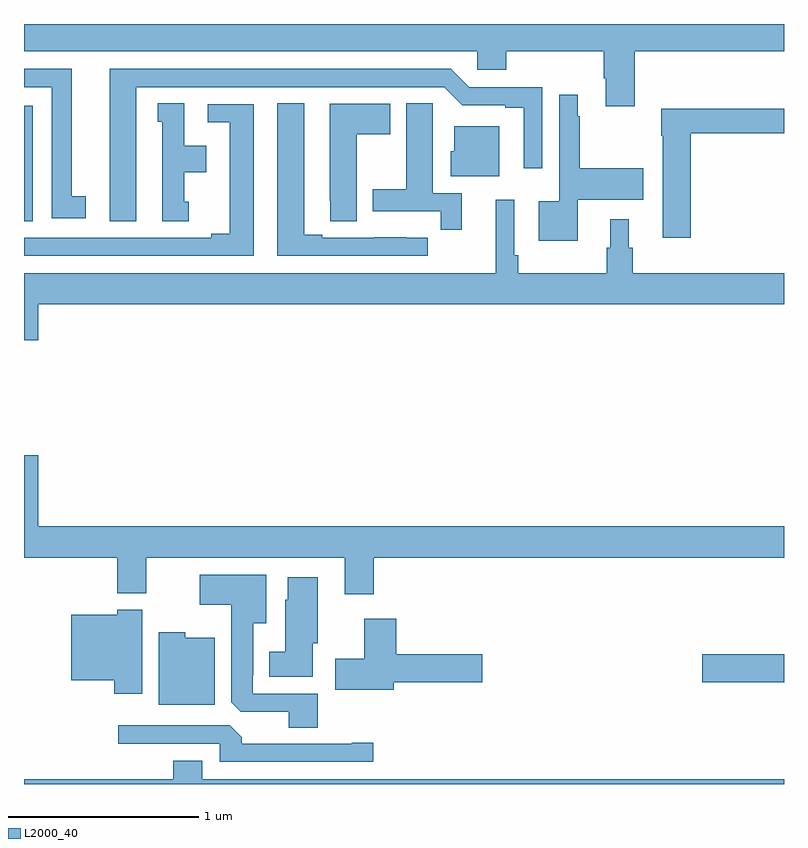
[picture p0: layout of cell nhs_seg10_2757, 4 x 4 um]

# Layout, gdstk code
import gdstk
lib = gdstk.Library(unit=1e-6, precision=1e-09)
def R(c, l, rs):  # rectangles x0, y0, x1, y1
    for r in rs: c.add(gdstk.rectangle(r[:2], r[2:], *l))
def P(c, l, *ps):  # polygons
    for p in ps: c.add(gdstk.Polygon(p, *l))
L2000_40 = (2000, 40)

nhs_seg10_2757 = lib.new_cell('nhs_seg10_2757')
R(nhs_seg10_2757, L2000_40, [(264.57,1257.035,265,1257.182), (261,1259.461,261.046,1260.069)])
P(nhs_seg10_2757, L2000_40, [(264.215,1260.356),(265,1260.356),(265,1260.5),(261,1260.5),(261,1260.356),(263.385,1260.356),(263.385,1260.258),(263.537,1260.258),(263.537,1260.356),(264.05,1260.356),(264.05,1260.214),(264.062,1260.214),(264.062,1260.066),(264.215,1260.066)],
  [(261.592,1260.168),(263.211,1260.168),(263.307,1260.072),(263.534,1260.072),(263.534,1260.06),(263.63,1260.06),(263.63,1259.742),(263.727,1259.742),(263.727,1260.168),(263.343,1260.168),(263.247,1260.264),(261.452,1260.264),(261.452,1259.463),(261.592,1259.463)],
  [(261.325,1259.594),(261.25,1259.594),(261.25,1260.264),(261,1260.264),(261,1260.168),(261.146,1260.168),(261.146,1259.478),(261.325,1259.478)],
  [(263.914,1259.576),(264.259,1259.576),(264.259,1259.742),(263.926,1259.742),(263.926,1260.014),(263.914,1260.014),(263.914,1260.127),(263.817,1260.127),(263.817,1259.566),(263.708,1259.566),(263.708,1259.36),(263.914,1259.36)],
  [(261.868,1259.565),(261.844,1259.565),(261.844,1259.72),(261.958,1259.72),(261.958,1259.86),(261.844,1259.86),(261.844,1260.083),(261.704,1260.083),(261.704,1259.985),(261.728,1259.985),(261.728,1259.463),(261.868,1259.463)],
  [(263.303,1259.61),(263.152,1259.61),(263.152,1259.972),(263.151,1259.972),(263.151,1260.083),(263.012,1260.083),(263.012,1259.631),(262.835,1259.631),(262.835,1259.514),(263.194,1259.514),(263.194,1259.418),(263.303,1259.418)],
  [(263.125,1259.376),(263.012,1259.376),(263.012,1259.377),(262.846,1259.377),(262.846,1259.376),(262.57,1259.376),(262.57,1259.391),(262.474,1259.391),(262.474,1260.083),(262.334,1260.083),(262.334,1259.28),(263.125,1259.28)],
  [(262.75,1259.92),(262.927,1259.92),(262.927,1260.079),(262.61,1260.079),(262.61,1259.569),(262.611,1259.569),(262.611,1259.461),(262.75,1259.461)],
  [(262.21,1260.078),(261.966,1260.078),(261.966,1259.982),(262.082,1259.982),(262.082,1259.396),(261.986,1259.396),(261.986,1259.376),(261,1259.376),(261,1259.28),(262.21,1259.28)],
  [(264.509,1259.926),(265,1259.926),(265,1260.055),(264.355,1260.055),(264.355,1259.912),(264.362,1259.912),(264.362,1259.376),(264.509,1259.376)],
  [(263.5,1259.962),(263.264,1259.962),(263.264,1259.829),(263.246,1259.829),(263.246,1259.699),(263.5,1259.699)],
  [(261.076,1259.024),(265,1259.024),(265,1259.188),(264.203,1259.188),(264.203,1259.322),(264.184,1259.322),(264.184,1259.473),(264.086,1259.473),(264.086,1259.322),(264.067,1259.322),(264.067,1259.188),(263.6,1259.188),(263.6,1259.284),(263.58,1259.284),(263.58,1259.575),(263.483,1259.575),(263.483,1259.188),(261,1259.188),(261,1258.836),(261.076,1258.836)],
  [(262.841,1257.692),(265,1257.692),(265,1257.856),(261.076,1257.856),(261.076,1258.231),(261,1258.231),(261,1257.692),(261.491,1257.692),(261.491,1257.503),(261.643,1257.503),(261.643,1257.692),(262.688,1257.692),(262.688,1257.498),(262.841,1257.498)],
  [(262.547,1256.976),(262.203,1256.976),(262.203,1257.073),(262.207,1257.073),(262.207,1257.347),(262.276,1257.347),(262.276,1257.601),(261.924,1257.601),(261.924,1257.443),(262.091,1257.443),(262.091,1256.929),(262.14,1256.88),(262.394,1256.88),(262.394,1256.797),(262.547,1256.797)],
  [(262.519,1257.24),(262.546,1257.24),(262.546,1257.589),(262.388,1257.589),(262.388,1257.471),(262.376,1257.471),(262.376,1257.196),(262.292,1257.196),(262.292,1257.065),(262.519,1257.065)],
  [(261.622,1257.418),(261.492,1257.418),(261.492,1257.391),(261.248,1257.391),(261.248,1257.047),(261.476,1257.047),(261.476,1256.976),(261.622,1256.976)],
  [(262.945,1257.035),(263.413,1257.035),(263.413,1257.182),(262.958,1257.182),(262.958,1257.37),(262.79,1257.37),(262.79,1257.159),(262.638,1257.159),(262.638,1256.996),(262.945,1256.996)],
  [(262.003,1257.271),(261.849,1257.271),(261.849,1257.298),(261.71,1257.298),(261.71,1256.918),(262.003,1256.918)],
  [(262.837,1256.717),(262.724,1256.717),(262.724,1256.712),(262.145,1256.712),(262.145,1256.746),(262.083,1256.808),(261.495,1256.808),(261.495,1256.712),(262.029,1256.712),(262.029,1256.616),(262.837,1256.616)],
  [(261.937,1256.623),(261.785,1256.623),(261.785,1256.524),(261,1256.524),(261,1256.5),(265,1256.5),(265,1256.524),(261.937,1256.524)])

lib.write_gds('nhs_seg10_2757.gds')
